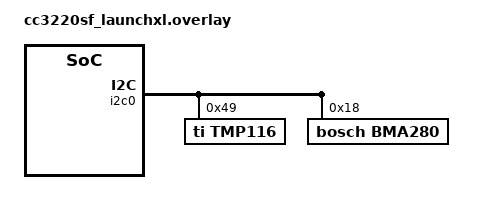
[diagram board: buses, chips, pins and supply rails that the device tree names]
/*
 * Copyright (c) 2020 Amarula Solutions.
 *
 * SPDX-License-Identifier: Apache-2.0
 */

&i2c0 {
	tmp116: tmp116@49 {
		compatible = "ti,tmp116";
		reg = <0x49>;
		label = "TMP116";
	};

	bma280: bma280@18 {
		compatible = "bosch,bma280";
		reg = <0x18>;
		label = "BMA280";
	};
};
